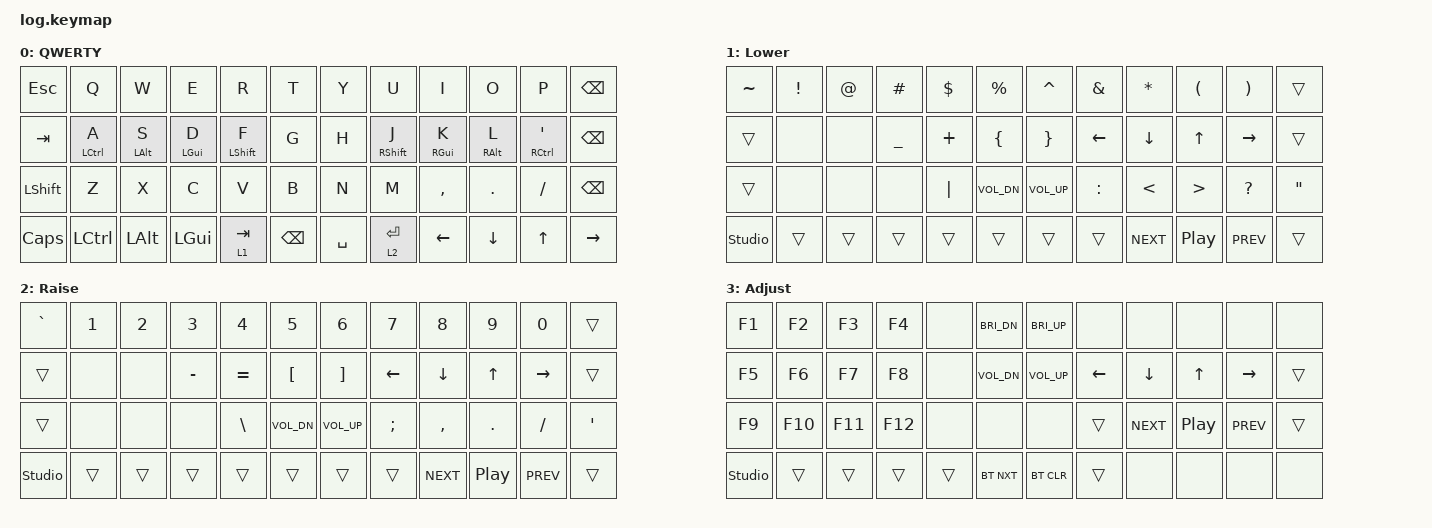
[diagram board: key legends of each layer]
#include <behaviors.dtsi>
#include <dt-bindings/zmk/keys.h>
#include <dt-bindings/zmk/bt.h>

/ {
    keymap {
        compatible = "zmk,keymap";

        default_layer {
            display-name = "QWERTY";
            bindings = <
                &kp ESC   &kp Q        &kp W       &kp E       &kp R        &kp T     &kp Y   &kp U        &kp I       &kp O       &kp P         &kp BSPC
                &kp TAB   &mt LCTRL A  &mt LALT S  &mt LGUI D  &mt LSHFT F  &kp G     &kp H   &mt RSHFT J  &mt RGUI K  &mt RALT L  &mt RCTRL SQT  &kp BSPC
                &kp LSHFT &kp Z        &kp X       &kp C       &kp V        &kp B     &kp N   &kp M        &kp COMMA   &kp DOT     &kp SLASH     &kp BSPC
                &kp CAPS  &kp LCTRL    &kp LALT    &kp LGUI    &lt 1 TAB    &kp BSPC  &kp SPC &lt 2 ENTER  &kp LEFT    &kp DOWN    &kp UP        &kp RIGHT
            >;
        };
        lower {
            display-name = "Lower";
            bindings = <
                &kp TILDE      &kp EXCL &kp AT  &kp HASH  &kp DLLR &kp PRCNT &kp CARET       &kp AMPS  &kp STAR   &kp LPAR &kp RPAR   &trans
                &trans         &none    &none   &kp UNDER &kp PLUS &kp LBRC  &kp RBRC        &kp LEFT  &kp DOWN   &kp UP   &kp RIGHT  &trans
                &trans         &none    &none   &none     &kp PIPE &kp C_VOL_DN &kp C_VOL_UP &kp COLON &kp LT     &kp GT   &kp QMARK  &kp DQT
                &studio_unlock &trans   &trans  &trans    &trans   &trans    &trans          &trans    &kp C_NEXT &kp C_PP &kp C_PREV &trans
            >;
        };
        raise {
            display-name = "Raise";
            bindings = <
                &kp GRAVE      &kp N1   &kp N2   &kp N3    &kp N4    &kp N5       &kp N6       &kp N7    &kp N8     &kp N9   &kp N0     &trans
                &trans         &none    &none    &kp MINUS &kp EQUAL &kp LBKT     &kp RBKT     &kp LEFT  &kp DOWN   &kp UP   &kp RIGHT  &trans
                &trans         &none    &none    &none     &kp BSLH  &kp C_VOL_DN &kp C_VOL_UP &kp SEMI  &kp COMMA  &kp DOT  &kp SLASH  &kp SQT
                &studio_unlock &trans   &trans   &trans    &trans    &trans       &trans       &trans    &kp C_NEXT &kp C_PP &kp C_PREV &trans
            >;
        };
        adjust {
            display-name = "Adjust";
            bindings = <
                &kp F1         &kp F2  &kp F3  &kp F4  &none  &kp C_BRI_DN &kp C_BRI_UP &none     &none      &none    &none      &none
                &kp F5         &kp F6  &kp F7  &kp F8  &none  &kp C_VOL_DN &kp C_VOL_UP &kp LEFT  &kp DOWN   &kp UP   &kp RIGHT  &trans
                &kp F9         &kp F10 &kp F11 &kp F12 &none  &none        &none        &trans    &kp C_NEXT &kp C_PP &kp C_PREV &trans
                &studio_unlock &trans  &trans  &trans  &trans &bt BT_NXT   &bt BT_CLR   &trans    &none      &none    &none      &none
            >;
        };
    };
    conditional_layers {
        compatible = "zmk,conditional-layers";
        tri_layer {
            if-layers = <1 2>;
            then-layer = <3>;
        };
    };
 };
